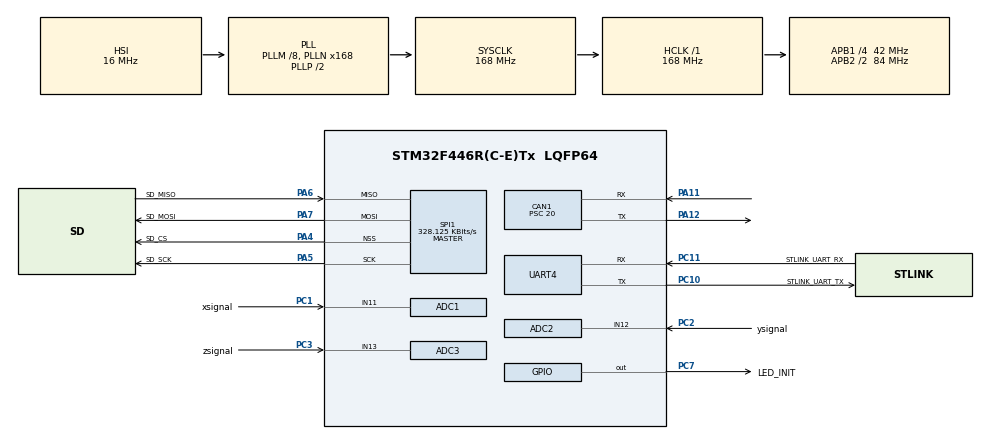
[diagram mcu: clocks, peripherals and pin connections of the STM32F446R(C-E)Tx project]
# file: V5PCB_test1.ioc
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ADC1.Channel-0\#ChannelRegularConversion=ADC_CHANNEL_11
ADC1.ContinuousConvMode=DISABLE
ADC1.DMAContinuousRequests=ENABLE
ADC1.ExternalTrigConv=ADC_EXTERNALTRIGCONV_T2_TRGO
ADC1.ExternalTrigConvEdge=ADC_EXTERNALTRIGCONVEDGE_RISINGFALLING
ADC1.NbrOfConversionFlag=1
ADC1.Rank-0\#ChannelRegularConversion=1
ADC1.SamplingTime-0\#ChannelRegularConversion=ADC_SAMPLETIME_3CYCLES
ADC1.master=1
ADC2.Channel-0\#ChannelRegularConversion=ADC_CHANNEL_12
ADC2.ContinuousConvMode=DISABLE
ADC2.DMAContinuousRequests=ENABLE
ADC2.ExternalTrigConv=ADC_EXTERNALTRIGCONV_T2_TRGO
ADC2.ExternalTrigConvEdge=ADC_EXTERNALTRIGCONVEDGE_RISINGFALLING
ADC2.NbrOfConversionFlag=1
ADC2.Rank-0\#ChannelRegularConversion=1
ADC2.SamplingTime-0\#ChannelRegularConversion=ADC_SAMPLETIME_3CYCLES
ADC3.Channel-0\#ChannelRegularConversion=ADC_CHANNEL_13
ADC3.ClockPrescaler=ADC_CLOCK_SYNC_PCLK_DIV4
ADC3.ContinuousConvMode=DISABLE
ADC3.DMAContinuousRequests=ENABLE
ADC3.ExternalTrigConv=ADC_EXTERNALTRIGCONV_T2_TRGO
ADC3.ExternalTrigConvEdge=ADC_EXTERNALTRIGCONVEDGE_RISINGFALLING
ADC3.NbrOfConversionFlag=1
ADC3.Rank-0\#ChannelRegularConversion=1
ADC3.SamplingTime-0\#ChannelRegularConversion=ADC_SAMPLETIME_3CYCLES
CAN1.BS1=CAN_BS1_12TQ
CAN1.BS2=CAN_BS2_8TQ
CAN1.CalculateBaudRate=100000
CAN1.CalculateTimeBit=10000
CAN1.CalculateTimeQuantum=476.1904761904762
CAN1.Prescaler=20
Dma.ADC1.0.Direction=DMA_PERIPH_TO_MEMORY
Dma.ADC1.0.FIFOMode=DMA_FIFOMODE_DISABLE
Dma.ADC1.0.Instance=DMA2_Stream0
Dma.ADC1.0.MemDataAlignment=DMA_MDATAALIGN_HALFWORD
Dma.ADC1.0.MemInc=DMA_MINC_ENABLE
Dma.ADC1.0.Mode=DMA_CIRCULAR
Dma.ADC1.0.PeriphDataAlignment=DMA_PDATAALIGN_HALFWORD
Dma.ADC1.0.PeriphInc=DMA_PINC_DISABLE
Dma.ADC1.0.Priority=DMA_PRIORITY_LOW
Dma.ADC2.1.Direction=DMA_PERIPH_TO_MEMORY
Dma.ADC2.1.FIFOMode=DMA_FIFOMODE_DISABLE
Dma.ADC2.1.Instance=DMA2_Stream2
Dma.ADC2.1.MemDataAlignment=DMA_MDATAALIGN_HALFWORD
Dma.ADC2.1.MemInc=DMA_MINC_ENABLE
Dma.ADC2.1.Mode=DMA_CIRCULAR
Dma.ADC2.1.PeriphDataAlignment=DMA_PDATAALIGN_HALFWORD
Dma.ADC2.1.PeriphInc=DMA_PINC_DISABLE
Dma.ADC2.1.Priority=DMA_PRIORITY_LOW
Dma.ADC3.2.Direction=DMA_PERIPH_TO_MEMORY
Dma.ADC3.2.FIFOMode=DMA_FIFOMODE_DISABLE
Dma.ADC3.2.Instance=DMA2_Stream1
Dma.ADC3.2.MemDataAlignment=DMA_MDATAALIGN_HALFWORD
Dma.ADC3.2.MemInc=DMA_MINC_ENABLE
Dma.ADC3.2.Mode=DMA_CIRCULAR
Dma.ADC3.2.PeriphDataAlignment=DMA_PDATAALIGN_HALFWORD
Dma.ADC3.2.PeriphInc=DMA_PINC_DISABLE
Dma.ADC3.2.Priority=DMA_PRIORITY_LOW
Dma.Request0=ADC1
Dma.Request1=ADC2
Dma.Request2=ADC3
Mcu.Family=STM32F4
Mcu.Name=STM32F446R(C-E)Tx
Mcu.Package=LQFP64
NVIC.CAN1_RX0_IRQn=true\:0\:0\:false\:false\:true\:true\:true\:true
NVIC.DMA2_Stream0_IRQn=true\:0\:0\:false\:false\:true\:false\:true\:true
NVIC.DMA2_Stream1_IRQn=true\:0\:0\:false\:false\:true\:false\:true\:true
NVIC.DMA2_Stream2_IRQn=true\:0\:0\:false\:false\:true\:false\:true\:true
NVIC.PriorityGroup=NVIC_PRIORITYGROUP_4
NVIC.TIM8_TRG_COM_TIM14_IRQn=true\:0\:0\:false\:false\:true\:true\:true\:true
NVIC.TIM8_UP_TIM13_IRQn=true\:0\:0\:false\:false\:true\:true\:true\:true
PA11.Mode=CAN_Activate
PA11.Signal=CAN1_RX
PA12.Mode=CAN_Activate
PA12.Signal=CAN1_TX
PA4.GPIO_Label=SD_CS
PA4.GPIO_PuPd=GPIO_PULLUP
PA4.Mode=NSS_Signal_Hard_Output
PA4.Signal=SPI1_NSS
PA5.GPIO_Label=SD_SCK
PA5.GPIO_PuPd=GPIO_PULLUP
PA5.Mode=Full_Duplex_Master
PA5.Signal=SPI1_SCK
PA6.GPIO_Label=SD_MISO
PA6.GPIO_PuPd=GPIO_PULLUP
PA6.Mode=Full_Duplex_Master
PA6.Signal=SPI1_MISO
PA7.GPIO_Label=SD_MOSI
PA7.GPIO_PuPd=GPIO_PULLUP
PA7.Mode=Full_Duplex_Master
PA7.Signal=SPI1_MOSI
PC1.GPIO_Label=xsignal
PC1.Signal=ADCx_IN11
PC10.GPIO_Label=STLINK_UART_TX
PC10.Mode=Asynchronous
PC10.Signal=UART4_TX
PC11.GPIO_Label=STLINK_UART_RX
PC11.Mode=Asynchronous
PC11.Signal=UART4_RX
PC2.GPIO_Label=ysignal
PC2.Signal=ADCx_IN12
PC3.GPIO_Label=zsignal
PC3.Signal=ADCx_IN13
PC7.GPIO_Label=LED_INIT
PC7.Signal=GPIO_Output
ProjectManager.HeapSize=0x200
ProjectManager.StackSize=0x400
ProjectManager.TargetToolchain=STM32CubeIDE
RCC.AHBFreq_Value=168000000
RCC.APB1CLKDivider=RCC_HCLK_DIV4
RCC.APB1Freq_Value=42000000
RCC.APB1TimFreq_Value=84000000
RCC.APB2CLKDivider=RCC_HCLK_DIV2
RCC.APB2Freq_Value=84000000
RCC.APB2TimFreq_Value=168000000
RCC.CortexFreq_Value=168000000
RCC.HCLKFreq_Value=168000000
RCC.PLLM=8
RCC.PLLN=168
RCC.SYSCLKFreq_VALUE=168000000
RCC.SYSCLKSource=RCC_SYSCLKSOURCE_PLLCLK
RCC.USBFreq_Value=168000000
RCC.VCOOutputFreq_Value=336000000
SH.ADCx_IN11.0=ADC1_IN11,IN11
SH.ADCx_IN12.0=ADC2_IN12,IN12
SH.ADCx_IN13.0=ADC3_IN13,IN13
SPI1.BaudRatePrescaler=SPI_BAUDRATEPRESCALER_256
SPI1.CalculateBaudRate=328.125 KBits/s
SPI1.Direction=SPI_DIRECTION_2LINES
SPI1.Mode=SPI_MODE_MASTER
SPI1.VirtualNSS=VM_NSSHARD
SPI1.VirtualType=VM_MASTER
TIM13.Period=100-1
TIM13.Prescaler=84-1
TIM14.Period=10000-1
TIM14.Prescaler=8400-1
TIM2.Period=100-1
TIM2.Prescaler=84-1
TIM2.TIM_MasterOutputTrigger=TIM_TRGO_UPDATE
UART4.VirtualMode=Asynchronous
VP_FATFS_VS_Generic.Mode=User_defined
VP_TIM13_VS_ClockSourceINT.Mode=Enable_Timer
VP_TIM14_VS_ClockSourceINT.Mode=Enable_Timer
VP_TIM2_VS_ClockSourceINT.Mode=Internal
board=custom

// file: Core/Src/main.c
/* USER CODE BEGIN Header */
/**
  ******************************************************************************
  * @file           : main.c
  * @brief          : Main program body
  ******************************************************************************
  * @attention
  *
  * Copyright (c) 2024 STMicroelectronics.
  * All rights reserved.
  *
  * This software is licensed under terms that can be found in the LICENSE file
  * in the root directory of this software component.
  * If no LICENSE file comes with this software, it is provided AS-IS.
  *
  ******************************************************************************
  */
/* USER CODE END Header */
#include "main.h"
#include "fatfs.h"

/* USER CODE BEGIN Includes */

#include "sdcard.h"

#include <string.h>
#include <stdio.h>
#include <stdarg.h> //for va_list var arg functions
#include <stdbool.h>
#include <math.h>

/* USER CODE END Includes */

/* USER CODE BEGIN PD */
#define FREQ_X_LENGTH 14
#define FREQ_Y_LENGTH 14
#define FREQ_Z_LENGTH 14
#define A_X_LENGTH 9
#define A_Y_LENGTH 9
#define A_Z_LENGTH 9
/* USER CODE END PD */

ADC_HandleTypeDef hadc1;
ADC_HandleTypeDef hadc2;
ADC_HandleTypeDef hadc3;
DMA_HandleTypeDef hdma_adc1;
DMA_HandleTypeDef hdma_adc2;
DMA_HandleTypeDef hdma_adc3;

CAN_HandleTypeDef hcan1;

SPI_HandleTypeDef hspi1;

TIM_HandleTypeDef htim2;
TIM_HandleTypeDef htim13;
TIM_HandleTypeDef htim14;

UART_HandleTypeDef huart4;

void SystemClock_Config(void);
static void MX_GPIO_Init(void);
static void MX_DMA_Init(void);
static void MX_SPI1_Init(void);
static void MX_UART4_Init(void);
static void MX_TIM14_Init(void);
static void MX_TIM13_Init(void);
static void MX_ADC1_Init(void);
static void MX_ADC2_Init(void);
static void MX_ADC3_Init(void);
static void MX_CAN1_Init(void);
static void MX_TIM2_Init(void);

/* USER CODE BEGIN 0 */

// flags
volatile uint8_t rtf = 0;       // Ready To Flush
volatile uint8_t halfcpltx = 0; // ADC half complete
volatile uint8_t halfcplty = 0;
volatile uint8_t halfcpltz = 0;
volatile uint8_t cpltx = 0; // ADC complete
volatile uint8_t cplty = 0;
volatile uint8_t cpltz = 0;
volatile int receive_flag = 0;

// ADC buffer
uint16_t adc_buffer_x[16+ADC_BUFFER_SIZE] = {0};
uint16_t adc_buffer_y[16+ADC_BUFFER_SIZE] = {0};
uint16_t adc_buffer_z[16+ADC_BUFFER_SIZE] = {0};

// CAN variables
uint8_t init_buffer[27] = "FC B activated!\n\r";
uint8_t tx_buffer[27] = "Transmit Board 3!\n\r";
uint8_t rx_buffer[27] = "Received Board 3!\n\r";

CAN_TxHeaderTypeDef TxHeader;
CAN_RxHeaderTypeDef RxHeader;

CAN_TxHeaderTypeDef TxHeadermsg1;
CAN_TxHeaderTypeDef TxHeadermsg2;

uint32_t TxMailbox[4];

uint8_t TxData[8];
uint8_t RxData[8];

uint8_t TxDatamsg1[8];
uint8_t TxDatamsg2[8];

uint8_t count = 0;
uint8_t toggle = 0;

uint64_t currenttime = 0;
uint64_t lasttime = 0;

bool isSampling = true;
union my_msg
{
  uint64_t msg;
  uint8_t bytes[8];
};

struct Data
{
  float frqX;
  float frqY;
  float frqZ;

  float ampX;
  float ampY;
  float ampZ;

  bool isSampling;

  uint32_t seconds;
};

uint64_t formatMsg1(bool isSampling, float frqX, float frqY, float frqZ, float ampX, float ampY)
{
  uint64_t formattedMsg1;

  uint64_t samplingBit; //"converting" a boolean to a 0 or 1
  if (isSampling == true)
  {
    samplingBit = 1;
  }
  else
  {
    samplingBit = 0;
  }
  // round the frequencies to the nearest unit before shifting
  uint64_t roundedFrqZ = roundf(frqZ);
  if (frqZ > 16383)
    roundedFrqZ = 16383; // use 11111111111111 to indicate overflow
  uint64_t roundedFrqY = roundf(frqY);
  if (frqY > 16383)
    roundedFrqY = 16383; // use 11111111111111 to indicate overflow
  uint64_t roundedFrqX = roundf(frqX);
  if (frqX > 16383)
    roundedFrqX = 16383; // use 11111111111111 to indicate overflow
  // Value is x100 and %100 at groundstation to get 2 decimal places. Max value is 37m/s^2 with gain 4.34x, so we x13 to use full 511 range
  uint64_t roundedAmpX = roundf(ampX * 100 * 13);
  if (roundedAmpX > 511)
    roundedAmpX = 511; // use 11111111 to indicate overflow
  // Value is x100 and %100 at groundstation to get 2 decimal places. Max value is 80.5m/s^2 with gain 2x, so we x6 to use full 511 range
  uint64_t roundedAmpY = roundf(ampY * 100 * 6);
  if (roundedAmpY > 511)
    roundedAmpY = 511; // use 11111111 to indicate overflow
  formattedMsg1 =
      (samplingBit) | ((roundedFrqX & 16383) << 1) | ((roundedFrqY & 16383) << 15) | ((roundedFrqZ & 16383) << 29) | ((roundedAmpX & 511) << 46) | ((roundedAmpY & 511) << 55);
  return formattedMsg1;
}

uint64_t formatMsg2(float ampZ, uint32_t seconds)
{
  uint64_t formattedMsg2;
  // Value is x100 and %100 at groundstation to get 2 decimal places. Max value is 161m/s^2 with gain 1x, so we x3 to use full 511 range
  uint64_t roundedAmpZ = roundf(ampZ * 100 * 3); // Data on grounstation is scaled by 3,6,13 times compared to SD card
  if (roundedAmpZ > 511)
    roundedAmpZ = 511; // use 11111111 to indicate overflow
  uint64_t formattedSeconds = 0;
  if (seconds > 32768)
  { // Overflow seconds back to zero if it reaches more than 15 bits.
    formattedSeconds = seconds - 32768;
  }
  if (seconds > 65535)
  { // if we are still over 15 bits then fix the value (this happens after 65,536 seconds
    formattedSeconds = 32767;
  }
  else
  {
    formattedSeconds = (uint64_t)seconds;
  }
  formattedMsg2 = (formattedSeconds & 32767) | ((roundedAmpZ & 511) << 15) | (0 << 24);
  return formattedMsg2;
}

void buildMsg(union my_msg *uMsg1, union my_msg *uMsg2, struct Data dt)
{

  uint64_t msg1 = formatMsg1(dt.isSampling, dt.frqX, dt.frqY, dt.frqZ, dt.ampX, dt.ampY);
  uint64_t msg2 = formatMsg2(dt.ampZ, dt.seconds);
  uMsg1->msg = msg1;
  uMsg2->msg = msg2;
}

// Function to create a new file with an incremented number
void create_new_filename(char *filename, const char *basename, const char *extension)
{
  UINT num = 1;
  FILINFO fno;
  while (1)
  {
    snprintf(filename, 32, "%s%d.%s", basename, num, extension);
    if (f_stat(filename, &fno) != FR_OK)
    {
      // File doesn't exist
      break;
    }
    num++;
  }
}

/* USER CODE END 0 */

int main(void)
{

  /* MCU Configuration--------------------------------------------------------*/

  /* Reset of all peripherals, Initializes the Flash interface and the Systick. */
  HAL_Init();

  /* Configure the system clock */
  SystemClock_Config();

  /* Initialize all configured peripherals */
  MX_GPIO_Init();
  MX_DMA_Init();
  MX_SPI1_Init();
  MX_UART4_Init();
  MX_FATFS_Init();
  MX_TIM14_Init();
  MX_TIM13_Init();
  MX_ADC1_Init();
  MX_ADC2_Init();
  MX_ADC3_Init();
  MX_CAN1_Init();
  MX_TIM2_Init();
  /* USER CODE BEGIN 2 */

  myprintf("\r\n~ Starting... ~\r\n\r\n");

  HAL_GPIO_WritePin(LED_INIT_GPIO_Port, LED_INIT_Pin, GPIO_PIN_RESET); // Init LED Off

  HAL_Delay(1000); // a short delay is important to let the SD card settle

  HAL_StatusTypeDef status = HAL_OK;

  /* Start the CAN peripheral */
  /*
  CAN bus abandoned for now -> not starting them

  status = HAL_CAN_Start(&hcan1);
  if (status != HAL_OK)
  {
    myprintf("HAL_CAN_Start error (%i)\r\n", status);
    while (1);
  }

  status = HAL_CAN_ActivateNotification(&hcan1, CAN_IT_RX_FIFO0_MSG_PENDING);
  if (status != HAL_OK)
  {
    myprintf("HAL_CAN_ActivateNotification error (%i)\r\n", status);
    while (1);
  }

  */

  TxHeader.DLC = 2;
  TxHeader.ExtId = 0;
  TxHeader.IDE = CAN_ID_STD;
  TxHeader.RTR = CAN_RTR_DATA;
  TxHeader.StdId = 0x333;
  TxHeader.TransmitGlobalTime = DISABLE;

  TxHeadermsg1.DLC = 8;
  TxHeadermsg1.ExtId = 0;
  TxHeadermsg1.IDE = CAN_ID_STD;
  TxHeadermsg1.RTR = CAN_RTR_DATA;
  TxHeadermsg1.StdId = 0x300;
  TxHeadermsg1.TransmitGlobalTime = DISABLE;

  TxHeadermsg2.DLC = 8;
  TxHeadermsg2.ExtId = 0;
  TxHeadermsg2.IDE = CAN_ID_STD;
  TxHeadermsg2.RTR = CAN_RTR_DATA;
  TxHeadermsg2.StdId = 0x301;
  TxHeadermsg2.TransmitGlobalTime = DISABLE;

  /* Initialize the SD card */

  // some variables for FatFs
  FATFS FatFs;  // Fatfs handle
  FRESULT fres; // Result after operations

  // Open the file system
  myprintf("\r\n~ Mounting... ~\r\n\r\n");
  fres = f_mount(&FatFs, "", 1);
  if (fres != FR_OK)
  {
    myprintf("f_mount error (%i)\r\n", fres);
    while (1);
  }

  // Create new file name
  char filename[12];
  create_new_filename(filename, "DATA", "txt");

  //Open CSV
  fres = f_open(&fil, filename, FA_CREATE_NEW | FA_WRITE);
  if (fres == FR_OK)
  {
    myprintf("I was able to open '%s' for writing\r\n", filename);
  }
  else
  {
    myprintf("f_open error (%i)\r\n", fres);
    while (1);
  }

  status = HAL_TIM_Base_Start_IT(&htim14);
  if (status != HAL_OK)
  {
    myprintf("HAL_TIM_Base_Start_IT error (%i)\r\n", status);
    while (1);
  }

  /* Start the ADC */
  // Write metadata headers as
  // `"amplitudeX.time:"  [time in ms (4 bytes)]  "block:"  [block size in bytes (4 bytes)]  ".\0"`
  sprintf(adc_buffer_x, "amplitudeX.time:");
  sprintf(adc_buffer_x + 10, "block:");
  adc_buffer_x[13] = (uint16_t)(ADC_BUFFER_SIZE & 0xFFFF);
  adc_buffer_x[14] = (uint16_t)((ADC_BUFFER_SIZE >> 16) & 0xFFFF);
  sprintf(adc_buffer_x + 15, ".");
  sprintf(adc_buffer_y, "amplitudeY.time:");
  sprintf(adc_buffer_y + 10, "block:");
  adc_buffer_y[13] = (uint16_t)(ADC_BUFFER_SIZE & 0xFFFF);
  adc_buffer_y[14] = (uint16_t)((ADC_BUFFER_SIZE >> 16) & 0xFFFF);
  sprintf(adc_buffer_y + 15, ".");
  sprintf(adc_buffer_z, "amplitudeZ.time:");
  sprintf(adc_buffer_z + 10, "block:");
  adc_buffer_z[13] = (uint16_t)(ADC_BUFFER_SIZE & 0xFFFF);
  adc_buffer_z[14] = (uint16_t)((ADC_BUFFER_SIZE >> 16) & 0xFFFF);
  sprintf(adc_buffer_z + 15, ".");

  status = HAL_ADC_Start_DMA(&hadc1, (uint32_t *) &adc_buffer_x[16], ADC_BUFFER_SIZE);
  if (status != HAL_OK)
  {
    myprintf("HAL_ADC_Start_DMA adc1 error (%i)\r\n", status);
    while (1);
  }
  status = HAL_ADC_Start_DMA(&hadc2, (uint32_t *) &adc_buffer_y[16], ADC_BUFFER_SIZE);
  if (status != HAL_OK)
  {
    myprintf("HAL_ADC_Start_DMA adc2 error (%i)\r\n", status);
    while (1);
  }
  status = HAL_ADC_Start_DMA(&hadc3, (uint32_t *) &adc_buffer_z[16], ADC_BUFFER_SIZE);
  if (status != HAL_OK)
  {
    myprintf("HAL_ADC_Start_DMA adc3 error (%i)\r\n", status);
    while (1);
  }

  /* Start the sampling timer */
  status = HAL_TIM_Base_Start_IT(&htim2);
  // status = HAL_TIM_Base_Start_IT(&htim13);
  if (status != HAL_OK)
  {
    myprintf("HAL_TIM_Base_Start_IT error (%i)\r\n", status);
    while (1);
  }

  HAL_GPIO_WritePin(LED_INIT_GPIO_Port, LED_INIT_Pin, GPIO_PIN_SET); // Init LED On

  /* USER CODE END 2 */

  /* Infinite loop */
  while (1)
  {

    /* USER CODE BEGIN 3 */

    if (receive_flag == 1)
    {
      myprintf("Received %d\n\r", RxData[1]);
      uint32_t id = RxHeader.StdId;
      myprintf("Received message with Standard ID: 0x%03X\n\r", id);

      if (id == 0x011 || id == 0x012)
      {
        if (RxData[0] == 1)
        {
          myprintf("Payload is now sampling\n\r");
          isSampling = true;
        }
        if (RxData[0] == 0)
        {
          myprintf("Payload stopped sampling\n\r");
          isSampling = false;
        }
      }
      if (id == 0x005 || id == 0x006)
      {
        myprintf("Payload is now Scrub aka Reset\n\r");
      }

      receive_flag = 0;
    }
    if (HAL_GetTick() - lasttime > 1200)
    { // 1.2Hz
      lasttime = HAL_GetTick();
      // msg1
      // bool isSampling = true;
      float frqX = 1112.82f;
      float frqY = 2404.91f;
      float frqZ = 13711.42f;

      float ampX = 0.34f;
      float ampY = 0.412f;
      float ampZ = 1.664f;

      if (isSampling == false)
      {
        frqX = 0;
        frqY = 0;
        frqZ = 0;

        ampX = 0;
        ampY = 0;
        ampZ = 0;
      }

      uint32_t seconds = HAL_GetTick();
      seconds = seconds / 1000;

      struct Data data_packet = {frqX, frqY, frqZ, ampX, ampY, ampZ, isSampling, seconds};

      union my_msg m1;
      union my_msg m2;

      buildMsg(&m1, &m2, data_packet);
      HAL_CAN_AddTxMessage(&hcan1, &TxHeadermsg1, m1.bytes, &TxMailbox[0]);
      // HAL_Delay(100);
      HAL_CAN_AddTxMessage(&hcan1, &TxHeadermsg2, m2.bytes, &TxMailbox[0]);
    }

    if (rtf == 1)
    {
      SDCard_file_flush_line_check(&fil, &line_written);
      rtf = 0;
    }

    if (halfcpltx == 1)
    {
      SDCard_file_write(&fil, adc_buffer_x, (uint32_t) 32+ADC_BUFFER_SIZE, &line_written);

      myprintf("Half complete X timestamp: %lu\n\r", adc_buffer_x[8] + (adc_buffer_x[9] << 16));

      halfcpltx = 0;
    }
    if (halfcplty == 1)
    {
      SDCard_file_write(&fil, adc_buffer_y, (uint32_t) 32+ADC_BUFFER_SIZE, &line_written);

      myprintf("Half complete Y timestamp: %lu\n\r", adc_buffer_y[8] + (adc_buffer_y[9] << 16));

      halfcplty = 0;
    }
    if (halfcpltz == 1)
    {
      SDCard_file_write(&fil, adc_buffer_z, (uint32_t) 32+ADC_BUFFER_SIZE, &line_written);

      myprintf("Half complete Z timestamp: %lu\n\r", adc_buffer_z[8] + (adc_buffer_z[9] << 16));

      halfcpltz = 0;
    }

    if (cpltx == 1)
    {
      uint16_t adc_buffer_last_half[16+(ADC_BUFFER_SIZE/2)];
      memcpy(adc_buffer_last_half, adc_buffer_x, 16 * sizeof(uint16_t));
      memcpy(adc_buffer_last_half + 16, adc_buffer_x + 16 + (ADC_BUFFER_SIZE/2), (ADC_BUFFER_SIZE/2) * sizeof(uint16_t));

      SDCard_file_write(&fil, adc_buffer_last_half, (uint32_t) 32+ADC_BUFFER_SIZE, &line_written);

      myprintf("Complete X timestamp: %lu\n\r", adc_buffer_last_half[8] + (adc_buffer_last_half[9] << 16));

      cpltx = 0;
    }
    if (cplty == 1)
    {
      uint16_t adc_buffer_last_half[16+(ADC_BUFFER_SIZE/2)];
      memcpy(adc_buffer_last_half, adc_buffer_y, 16 * sizeof(uint16_t));
      memcpy(adc_buffer_last_half + 16, adc_buffer_y + 16 + (ADC_BUFFER_SIZE/2), (ADC_BUFFER_SIZE/2) * sizeof(uint16_t));

      SDCard_file_write(&fil, adc_buffer_last_half, (uint32_t) 32+ADC_BUFFER_SIZE, &line_written);

      myprintf("Complete Y timestamp: %lu\n\r", adc_buffer_last_half[8] + (adc_buffer_last_half[9] << 16));

      cplty = 0;
    }
    if (cpltz == 1)
    {
      uint16_t adc_buffer_last_half[16+(ADC_BUFFER_SIZE/2)];
      memcpy(adc_buffer_last_half, adc_buffer_z, 16 * sizeof(uint16_t));
      memcpy(adc_buffer_last_half + 16, adc_buffer_z + 16 + (ADC_BUFFER_SIZE/2), (ADC_BUFFER_SIZE/2) * sizeof(uint16_t));

      SDCard_file_write(&fil, adc_buffer_last_half, (uint32_t) 32+ADC_BUFFER_SIZE, &line_written);

      myprintf("Complete Z timestamp: %lu\n\r", adc_buffer_last_half[8] + (adc_buffer_last_half[9] << 16));

      cpltz = 0;
    }

    if (HAL_GetTick() > TERMINATION_TIME_MS)
    {
      f_close(&fil);
      myprintf("\r\n~ Closing file... ~\r\n\r\n");
      f_mount(NULL, "", 0);
      myprintf("\r\n~ Unmounting... ~\r\n\r\n");
      HAL_TIM_Base_Stop_IT(&htim14);
      myprintf("\r\n~ Stopping... ~\r\n\r\n");
      HAL_ADC_Stop_DMA(&hadc1);
      HAL_ADC_Stop_DMA(&hadc2);
      HAL_ADC_Stop_DMA(&hadc3);
      HAL_TIM_Base_Stop_IT(&htim2);
      HAL_GPIO_WritePin(LED_INIT_GPIO_Port, LED_INIT_Pin, GPIO_PIN_RESET); // Init LED Off
      while (1);
    }

  }

  /* USER CODE END 3 */
}

void SystemClock_Config(void)
{
  RCC_OscInitTypeDef RCC_OscInitStruct = {0};
  RCC_ClkInitTypeDef RCC_ClkInitStruct = {0};

  /** Configure the main internal regulator output voltage
  */
  __HAL_RCC_PWR_CLK_ENABLE();
  __HAL_PWR_VOLTAGESCALING_CONFIG(PWR_REGULATOR_VOLTAGE_SCALE1);

  /** Initializes the RCC Oscillators according to the specified parameters
  * in the RCC_OscInitTypeDef structure.
  */
  RCC_OscInitStruct.OscillatorType = RCC_OSCILLATORTYPE_HSI;
  RCC_OscInitStruct.HSIState = RCC_HSI_ON;
  RCC_OscInitStruct.HSICalibrationValue = RCC_HSICALIBRATION_DEFAULT;
  RCC_OscInitStruct.PLL.PLLState = RCC_PLL_ON;
  RCC_OscInitStruct.PLL.PLLSource = RCC_PLLSOURCE_HSI;
  RCC_OscInitStruct.PLL.PLLM = 8;
  RCC_OscInitStruct.PLL.PLLN = 168;
  RCC_OscInitStruct.PLL.PLLP = RCC_PLLP_DIV2;
  RCC_OscInitStruct.PLL.PLLQ = 2;
  RCC_OscInitStruct.PLL.PLLR = 2;
  if (HAL_RCC_OscConfig(&RCC_OscInitStruct) != HAL_OK)
  {
    Error_Handler();
  }

  /** Initializes the CPU, AHB and APB buses clocks
  */
  RCC_ClkInitStruct.ClockType = RCC_CLOCKTYPE_HCLK|RCC_CLOCKTYPE_SYSCLK
                              |RCC_CLOCKTYPE_PCLK1|RCC_CLOCKTYPE_PCLK2;
  RCC_ClkInitStruct.SYSCLKSource = RCC_SYSCLKSOURCE_PLLCLK;
  RCC_ClkInitStruct.AHBCLKDivider = RCC_SYSCLK_DIV1;
  RCC_ClkInitStruct.APB1CLKDivider = RCC_HCLK_DIV4;
  RCC_ClkInitStruct.APB2CLKDivider = RCC_HCLK_DIV2;

  if (HAL_RCC_ClockConfig(&RCC_ClkInitStruct, FLASH_LATENCY_5) != HAL_OK)
  {
    Error_Handler();
  }
}

static void MX_ADC1_Init(void)
{

  ADC_ChannelConfTypeDef sConfig = {0};

  /** Configure the global features of the ADC (Clock, Resolution, Data Alignment and number of conversion)
  */
  hadc1.Instance = ADC1;
  hadc1.Init.ClockPrescaler = ADC_CLOCK_SYNC_PCLK_DIV4;
  hadc1.Init.Resolution = ADC_RESOLUTION_12B;
  hadc1.Init.ScanConvMode = DISABLE;
  hadc1.Init.ContinuousConvMode = DISABLE;
  hadc1.Init.DiscontinuousConvMode = DISABLE;
  hadc1.Init.ExternalTrigConvEdge = ADC_EXTERNALTRIGCONVEDGE_RISINGFALLING;
  hadc1.Init.ExternalTrigConv = ADC_EXTERNALTRIGCONV_T2_TRGO;
  hadc1.Init.DataAlign = ADC_DATAALIGN_RIGHT;
  hadc1.Init.NbrOfConversion = 1;
  hadc1.Init.DMAContinuousRequests = ENABLE;
  hadc1.Init.EOCSelection = ADC_EOC_SINGLE_CONV;
  if (HAL_ADC_Init(&hadc1) != HAL_OK)
  {
    Error_Handler();
  }

  /** Configure for the selected ADC regular channel its corresponding rank in the sequencer and its sample time.
  */
  sConfig.Channel = ADC_CHANNEL_11;
  sConfig.Rank = 1;
  sConfig.SamplingTime = ADC_SAMPLETIME_3CYCLES;
  if (HAL_ADC_ConfigChannel(&hadc1, &sConfig) != HAL_OK)
  {
    Error_Handler();
  }

}

static void MX_ADC2_Init(void)
{

  ADC_ChannelConfTypeDef sConfig = {0};

  /** Configure the global features of the ADC (Clock, Resolution, Data Alignment and number of conversion)
  */
  hadc2.Instance = ADC2;
  hadc2.Init.ClockPrescaler = ADC_CLOCK_SYNC_PCLK_DIV4;
  hadc2.Init.Resolution = ADC_RESOLUTION_12B;
  hadc2.Init.ScanConvMode = DISABLE;
  hadc2.Init.ContinuousConvMode = DISABLE;
  hadc2.Init.DiscontinuousConvMode = DISABLE;
  hadc2.Init.ExternalTrigConvEdge = ADC_EXTERNALTRIGCONVEDGE_RISINGFALLING;
  hadc2.Init.ExternalTrigConv = ADC_EXTERNALTRIGCONV_T2_TRGO;
  hadc2.Init.DataAlign = ADC_DATAALIGN_RIGHT;
  hadc2.Init.NbrOfConversion = 1;
  hadc2.Init.DMAContinuousRequests = ENABLE;
  hadc2.Init.EOCSelection = ADC_EOC_SINGLE_CONV;
  if (HAL_ADC_Init(&hadc2) != HAL_OK)
  {
    Error_Handler();
  }

  /** Configure for the selected ADC regular channel its corresponding rank in the sequencer and its sample time.
  */
  sConfig.Channel = ADC_CHANNEL_12;
  sConfig.Rank = 1;
  sConfig.SamplingTime = ADC_SAMPLETIME_3CYCLES;
  if (HAL_ADC_ConfigChannel(&hadc2, &sConfig) != HAL_OK)
  {
    Error_Handler();
  }

}

static void MX_ADC3_Init(void)
{

  ADC_ChannelConfTypeDef sConfig = {0};

  /** Configure the global features of the ADC (Clock, Resolution, Data Alignment and number of conversion)
  */
  hadc3.Instance = ADC3;
  hadc3.Init.ClockPrescaler = ADC_CLOCK_SYNC_PCLK_DIV4;
  hadc3.Init.Resolution = ADC_RESOLUTION_12B;
  hadc3.Init.ScanConvMode = DISABLE;
  hadc3.Init.ContinuousConvMode = DISABLE;
  hadc3.Init.DiscontinuousConvMode = DISABLE;
  hadc3.Init.ExternalTrigConvEdge = ADC_EXTERNALTRIGCONVEDGE_RISINGFALLING;
  hadc3.Init.ExternalTrigConv = ADC_EXTERNALTRIGCONV_T2_TRGO;
  hadc3.Init.DataAlign = ADC_DATAALIGN_RIGHT;
  hadc3.Init.NbrOfConversion = 1;
  hadc3.Init.DMAContinuousRequests = ENABLE;
  hadc3.Init.EOCSelection = ADC_EOC_SINGLE_CONV;
  if (HAL_ADC_Init(&hadc3) != HAL_OK)
  {
    Error_Handler();
  }

  /** Configure for the selected ADC regular channel its corresponding rank in the sequencer and its sample time.
  */
  sConfig.Channel = ADC_CHANNEL_13;
  sConfig.Rank = 1;
  sConfig.SamplingTime = ADC_SAMPLETIME_3CYCLES;
  if (HAL_ADC_ConfigChannel(&hadc3, &sConfig) != HAL_OK)
  {
    Error_Handler();
  }

}

static void MX_CAN1_Init(void)
{

  hcan1.Instance = CAN1;
  hcan1.Init.Prescaler = 20;
  hcan1.Init.Mode = CAN_MODE_NORMAL;
  hcan1.Init.SyncJumpWidth = CAN_SJW_1TQ;
  hcan1.Init.TimeSeg1 = CAN_BS1_12TQ;
  hcan1.Init.TimeSeg2 = CAN_BS2_8TQ;
  hcan1.Init.TimeTriggeredMode = DISABLE;
  hcan1.Init.AutoBusOff = DISABLE;
  hcan1.Init.AutoWakeUp = DISABLE;
  hcan1.Init.AutoRetransmission = DISABLE;
  hcan1.Init.ReceiveFifoLocked = DISABLE;
  hcan1.Init.TransmitFifoPriority = DISABLE;
  if (HAL_CAN_Init(&hcan1) != HAL_OK)
  {
    Error_Handler();
  }
  /* USER CODE BEGIN CAN1_Init 2 */
  CAN_FilterTypeDef canfilterconfig;

  canfilterconfig.FilterActivation = CAN_FILTER_ENABLE;
  canfilterconfig.FilterBank = 0;  // anything between 0 to SlaveStartFilterBank
  canfilterconfig.FilterFIFOAssignment = CAN_RX_FIFO0;
  canfilterconfig.FilterIdHigh = 0x011<<5;
  canfilterconfig.FilterIdLow = 0x0000;
  canfilterconfig.FilterMaskIdHigh = 0x011<<5;
  canfilterconfig.FilterMaskIdLow = 0x0000;
  canfilterconfig.FilterMode = CAN_FILTERMODE_IDLIST;
  canfilterconfig.FilterScale = CAN_FILTERSCALE_32BIT;
  canfilterconfig.SlaveStartFilterBank = 13;  // 13 to 27 are assigned to slave CAN (CAN 2) OR 0 to 12 are assgned to CAN1
  HAL_CAN_ConfigFilter(&hcan1, &canfilterconfig);

  canfilterconfig.FilterActivation = CAN_FILTER_ENABLE;
  canfilterconfig.FilterBank = 1;  // anything between 0 to SlaveStartFilterBank
  canfilterconfig.FilterFIFOAssignment = CAN_RX_FIFO0;
  canfilterconfig.FilterIdHigh = 0x012<<5;
  canfilterconfig.FilterIdLow = 0x0000;
  canfilterconfig.FilterMaskIdHigh = 0x012<<5;
  canfilterconfig.FilterMaskIdLow = 0x0000;
  canfilterconfig.FilterMode = CAN_FILTERMODE_IDLIST;
  canfilterconfig.FilterScale = CAN_FILTERSCALE_32BIT;
  canfilterconfig.SlaveStartFilterBank = 13;  // 13 to 27 are assigned to slave CAN (CAN 2) OR 0 to 12 are assgned to CAN1
  HAL_CAN_ConfigFilter(&hcan1, &canfilterconfig);

  canfilterconfig.FilterActivation = CAN_FILTER_ENABLE;
  canfilterconfig.FilterBank = 2;  // anything between 0 to SlaveStartFilterBank
  canfilterconfig.FilterFIFOAssignment = CAN_RX_FIFO0;
  canfilterconfig.FilterIdHigh = 0x005<<5;
  canfilterconfig.FilterIdLow = 0x0000;
  canfilterconfig.FilterMaskIdHigh = 0x005<<5;
  canfilterconfig.FilterMaskIdLow = 0x0000;
  canfilterconfig.FilterMode = CAN_FILTERMODE_IDLIST;
  canfilterconfig.FilterScale = CAN_FILTERSCALE_32BIT;
  canfilterconfig.SlaveStartFilterBank = 13;  // 13 to 27 are assigned to slave CAN (CAN 2) OR 0 to 12 are assgned to CAN1
  HAL_CAN_ConfigFilter(&hcan1, &canfilterconfig);

  canfilterconfig.FilterActivation = CAN_FILTER_ENABLE;
  canfilterconfig.FilterBank = 3;  // anything between 0 to SlaveStartFilterBank
  canfilterconfig.FilterFIFOAssignment = CAN_RX_FIFO0;
  canfilterconfig.FilterIdHigh = 0x006<<5;
  canfilterconfig.FilterIdLow = 0x0000;
  canfilterconfig.FilterMaskIdHigh = 0x006<<5;
  canfilterconfig.FilterMaskIdLow = 0x0000;
  canfilterconfig.FilterMode = CAN_FILTERMODE_IDLIST;
  canfilterconfig.FilterScale = CAN_FILTERSCALE_32BIT;
  canfilterconfig.SlaveStartFilterBank = 13;  // 13 to 27 are assigned to slave CAN (CAN 2) OR 0 to 12 are assgned to CAN1
  HAL_CAN_ConfigFilter(&hcan1, &canfilterconfig);

  /* USER CODE END CAN1_Init 2 */

}

static void MX_SPI1_Init(void)
{

  /* SPI1 parameter configuration*/
  hspi1.Instance = SPI1;
  hspi1.Init.Mode = SPI_MODE_MASTER;
  hspi1.Init.Direction = SPI_DIRECTION_2LINES;
  hspi1.Init.DataSize = SPI_DATASIZE_8BIT;
  hspi1.Init.CLKPolarity = SPI_POLARITY_LOW;
  hspi1.Init.CLKPhase = SPI_PHASE_1EDGE;
  hspi1.Init.NSS = SPI_NSS_HARD_OUTPUT;
  hspi1.Init.BaudRatePrescaler = SPI_BAUDRATEPRESCALER_256;
  hspi1.Init.FirstBit = SPI_FIRSTBIT_MSB;
  hspi1.Init.TIMode = SPI_TIMODE_DISABLE;
  hspi1.Init.CRCCalculation = SPI_CRCCALCULATION_DISABLE;
  hspi1.Init.CRCPolynomial = 10;
  if (HAL_SPI_Init(&hspi1) != HAL_OK)
  {
    Error_Handler();
  }

}

static void MX_TIM2_Init(void)
{

  TIM_ClockConfigTypeDef sClockSourceConfig = {0};
  TIM_MasterConfigTypeDef sMasterConfig = {0};

  htim2.Instance = TIM2;
  htim2.Init.Prescaler = 84-1;
  htim2.Init.CounterMode = TIM_COUNTERMODE_UP;
  htim2.Init.Period = 100-1;
  htim2.Init.ClockDivision = TIM_CLOCKDIVISION_DIV1;
  htim2.Init.AutoReloadPreload = TIM_AUTORELOAD_PRELOAD_DISABLE;
  if (HAL_TIM_Base_Init(&htim2) != HAL_OK)
  {
    Error_Handler();
  }
  sClockSourceConfig.ClockSource = TIM_CLOCKSOURCE_INTERNAL;
  if (HAL_TIM_ConfigClockSource(&htim2, &sClockSourceConfig) != HAL_OK)
  {
    Error_Handler();
  }
  sMasterConfig.MasterOutputTrigger = TIM_TRGO_UPDATE;
  sMasterConfig.MasterSlaveMode = TIM_MASTERSLAVEMODE_DISABLE;
  if (HAL_TIMEx_MasterConfigSynchronization(&htim2, &sMasterConfig) != HAL_OK)
  {
    Error_Handler();
  }

}

static void MX_TIM13_Init(void)
{

  htim13.Instance = TIM13;
  htim13.Init.Prescaler = 84-1;
  htim13.Init.CounterMode = TIM_COUNTERMODE_UP;
  htim13.Init.Period = 100-1;
  htim13.Init.ClockDivision = TIM_CLOCKDIVISION_DIV1;
  htim13.Init.AutoReloadPreload = TIM_AUTORELOAD_PRELOAD_DISABLE;
  if (HAL_TIM_Base_Init(&htim13) != HAL_OK)
  {
    Error_Handler();
  }

}

static void MX_TIM14_Init(void)
{

  htim14.Instance = TIM14;
  htim14.Init.Prescaler = 8400-1;
  htim14.Init.CounterMode = TIM_COUNTERMODE_UP;
  htim14.Init.Period = 10000-1;
  htim14.Init.ClockDivision = TIM_CLOCKDIVISION_DIV1;
  htim14.Init.AutoReloadPreload = TIM_AUTORELOAD_PRELOAD_DISABLE;
  if (HAL_TIM_Base_Init(&htim14) != HAL_OK)
  {
    Error_Handler();
  }

}

static void MX_UART4_Init(void)
{

  huart4.Instance = UART4;
  huart4.Init.BaudRate = 115200;
  huart4.Init.WordLength = UART_WORDLENGTH_8B;
  huart4.Init.StopBits = UART_STOPBITS_1;
  huart4.Init.Parity = UART_PARITY_NONE;
  huart4.Init.Mode = UART_MODE_TX_RX;
  huart4.Init.HwFlowCtl = UART_HWCONTROL_NONE;
  huart4.Init.OverSampling = UART_OVERSAMPLING_16;
  if (HAL_UART_Init(&huart4) != HAL_OK)
  {
    Error_Handler();
  }

}

static void MX_DMA_Init(void)
{

  /* DMA controller clock enable */
  __HAL_RCC_DMA2_CLK_ENABLE();

  /* DMA interrupt init */
  /* DMA2_Stream0_IRQn interrupt configuration */
  HAL_NVIC_SetPriority(DMA2_Stream0_IRQn, 0, 0);
  HAL_NVIC_EnableIRQ(DMA2_Stream0_IRQn);
  /* DMA2_Stream1_IRQn interrupt configuration */
  HAL_NVIC_SetPriority(DMA2_Stream1_IRQn, 0, 0);
  HAL_NVIC_EnableIRQ(DMA2_Stream1_IRQn);
  /* DMA2_Stream2_IRQn interrupt configuration */
  HAL_NVIC_SetPriority(DMA2_Stream2_IRQn, 0, 0);
  HAL_NVIC_EnableIRQ(DMA2_Stream2_IRQn);

}

static void MX_GPIO_Init(void)
{
  GPIO_InitTypeDef GPIO_InitStruct = {0};

  /* GPIO Ports Clock Enable */
  __HAL_RCC_GPIOC_CLK_ENABLE();
  __HAL_RCC_GPIOA_CLK_ENABLE();

  /*Configure GPIO pin Output Level */
  HAL_GPIO_WritePin(LED_INIT_GPIO_Port, LED_INIT_Pin, GPIO_PIN_RESET);

  /*Configure GPIO pin : LED_INIT_Pin */
  GPIO_InitStruct.Pin = LED_INIT_Pin;
  GPIO_InitStruct.Mode = GPIO_MODE_OUTPUT_PP;
  GPIO_InitStruct.Pull = GPIO_NOPULL;
  GPIO_InitStruct.Speed = GPIO_SPEED_FREQ_LOW;
  HAL_GPIO_Init(LED_INIT_GPIO_Port, &GPIO_InitStruct);

}

/* USER CODE BEGIN 4 */

// Callback: timer has rolled over
void HAL_TIM_PeriodElapsedCallback(TIM_HandleTypeDef *htim)
{
  if (htim == &htim14)
  {
    if (flush_timer == SD_FLUSH_TIME_FREQ_SEC)
    {
      rtf = 1;
      flush_timer = 0;
    }
    else
      flush_timer++;
  }
}

void HAL_CAN_RxFifo0MsgPendingCallback(CAN_HandleTypeDef *hcan1)
{
  HAL_CAN_GetRxMessage(hcan1, CAN_RX_FIFO0, &RxHeader, RxData);
  count++;
  // myprintf("Received %d\n\r",RxData[1]);
  receive_flag = 1;
}

// Called when first half of buffer is filled
void HAL_ADC_ConvHalfCpltCallback(ADC_HandleTypeDef *hadc)
{
  if (hadc == &hadc1)
  {
    const uint32_t timestamp = HAL_GetTick();
    adc_buffer_x[8] = (uint16_t)(timestamp & 0xFFFF);         // Lower 16 bits
    adc_buffer_x[9] = (uint16_t)((timestamp >> 16) & 0xFFFF); // Upper 16 bits

    halfcpltx = 1;
  }
  else if (hadc == &hadc2)
  {
    const uint32_t timestamp = HAL_GetTick();
    adc_buffer_y[8] = (uint16_t)(timestamp & 0xFFFF);         // Lower 16 bits
    adc_buffer_y[9] = (uint16_t)((timestamp >> 16) & 0xFFFF); // Upper 16 bits

    halfcplty = 1;
  }
  else if (hadc == &hadc3)
  {
    const uint32_t timestamp = HAL_GetTick();
    adc_buffer_z[8] = (uint16_t)(timestamp & 0xFFFF);         // Lower 16 bits
    adc_buffer_z[9] = (uint16_t)((timestamp >> 16) & 0xFFFF); // Upper 16 bits

    halfcpltz = 1;
  }
}

// Called when buffer is completely filled
void HAL_ADC_ConvCpltCallback(ADC_HandleTypeDef *hadc)
{
  if (hadc == &hadc1)
  {
    const uint32_t timestamp = HAL_GetTick();
    adc_buffer_x[8] = (uint16_t)(timestamp & 0xFFFF);         // Lower 16 bits
    adc_buffer_x[9] = (uint16_t)((timestamp >> 16) & 0xFFFF); // Upper 16 bits

    cpltx = 1;
  }
  else if (hadc == &hadc2)
  {
    const uint32_t timestamp = HAL_GetTick();
    adc_buffer_y[8] = (uint16_t)(timestamp & 0xFFFF);         // Lower 16 bits
    adc_buffer_y[9] = (uint16_t)((timestamp >> 16) & 0xFFFF); // Upper 16 bits

    cplty = 1;
  }
  else if (hadc == &hadc3)
  {
    const uint32_t timestamp = HAL_GetTick();
    adc_buffer_z[8] = (uint16_t)(timestamp & 0xFFFF);         // Lower 16 bits
    adc_buffer_z[9] = (uint16_t)((timestamp >> 16) & 0xFFFF); // Upper 16 bits

    cpltz = 1;
  }
}

/* USER CODE END 4 */

void Error_Handler(void)
{
  __disable_irq();
  while (1)
  {
  }
}
